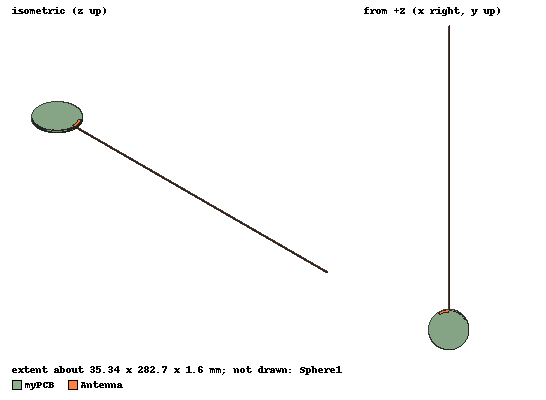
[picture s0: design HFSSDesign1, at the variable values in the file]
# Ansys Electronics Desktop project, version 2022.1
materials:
  vacuum: permittivity=1
  FR4_epoxy: permittivity=4.4 dielectric_loss_tangent=0.02
  copper: permeability=0.999991 conductivity=58000000

design HFSSDesign1 (HFSS, DrivenTerminal, model units mm)
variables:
  PCBHeight = 1.6mm
  RPCB = 17.5mm
  WAnt = 0.5mm
  thAnt = 59deg
  WGnd = 2mm
  thGND = 30.5deg
  InTraceWidth = -1mm
  InTraceLength = -Dgnd+marge+(WAnt/2)-(marge/2)
  InTraceHeigh = 0.36mm
  GNDTraceLength = -Dgnd+marge+(WGnd)-marge
  Dgnd = 5mm
  DgndVia = 0.125mm
  gndDepth = -0.36mm
  waveLength = 120mm
  xx = -2deg
  marge = 0.5m
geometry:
  myPCB [FR4_epoxy] = cylinder(axis=Z, base_centre=(0mm, 0mm, 0mm), radius=RPCB, height=-PCBHeight)
  Antenna = circle(normal=Z, centre=(0mm, 0mm, 0mm), radius=RPCB-0.5mm)
  Circle2 = circle(normal=Z, centre=(0mm, 0mm, 0mm), radius=RPCB-0.5mm-WAnt)
  Antenna.subtract(Circle2)
  Antenna.split(plane=YZ, keep=PositiveOnly)
  Antenna.rotate(axis=Z, angle=thAnt)
  Antenna.split(plane=YZ, keep=NegativeOnly)
  Antenna.rotate(axis=Z, angle=-thAnt)
  topGND = circle(normal=Z, centre=(0mm, 0mm, 0mm), radius=RPCB-0.5mm)
  Circle4 = circle(normal=Z, centre=(0mm, 0mm, 0mm), radius=RPCB-0.5mm-WGnd)
  topGND.subtract(Circle4)
  topGND.split(plane=YZ, keep=PositiveOnly)
  topGND.rotate(axis=Z, angle=thGND)
  topGND.split(plane=YZ, keep=NegativeOnly)
  Circle5 = circle(normal=Z, centre=(0mm, RPCB-marge-(WAnt/2), 0mm), radius=WAnt/2)
  Circle5.rotate(axis=Z, angle=-thAnt)
  InTrace = rectangle(corner=(-InTraceWidth/2, RPCB-0.5mm-WAnt/2, 0mm), x_size=InTraceWidth, y_size=InTraceLength)
  GNDTrace = rectangle(corner=(-WGnd/2, RPCB-marge-WGnd/2, 0mm), x_size=WGnd, y_size=GNDTraceLength)
  GNDTrace.rotate(axis=Z, angle=thGnd)
  Circle6 = circle(normal=Z, centre=(0mm, RPCB-marge- WGnd/2, 0mm), radius=WGnd/2)
  Circle6.rotate(axis=Z, angle=thGnd)
  Circle7 = circle(normal=Z, centre=(0mm, RPCB-marge - WGnd/2 + GNDTraceLength, 0mm), radius=WGnd/2)
  Circle7.rotate(axis=Z, angle=thGnd)
  Antenna.unite(Circle5, Circle6, Circle7, GNDTrace, InTrace, topGND)
  Rectangle1 = rectangle(corner=(0, RPCB-Dgnd, 0mm), x_size=-2*RPCB, y_size=-RPCB*2)
  Rectangle1.rotate(axis=Z, angle=thGnd)
  Rectangle2 = rectangle(corner=(0, RPCB-Dgnd, 0mm), x_size=2*RPCB, y_size=-RPCB*2)
  Rectangle2.rotate(axis=Z, angle=-thAnt)
  Circle8 = circle(normal=Z, centre=(0mm, 0mm, 0mm), radius=RPCB-Dgnd)
  Circle8.unite(Rectangle1, Rectangle2)
  Circle9 = circle(normal=Z, centre=(0mm, 0mm, 0mm), radius=RPCB-0.5mm)
  Circle9.intersect(Circle8)
  Circle9.move(0mm, 0mm, -0.36mm)
  Cylinder1 [copper] = cylinder(axis=Z, base_centre=(0mm, RPCB-marge - WGnd + GNDTraceLength+DgndVia, 0mm), radius=DgndVia, height=gndDepth)
  Cylinder1.rotate(axis=Z, angle=thGnd)
  Rectangle3 = rectangle(corner=(-InTraceWidth/2, RPCB-0.5mm-WAnt/2+InTraceLength, 0mm), z_size=gndDepth, x_size=InTraceWidth)
  Sphere1 [vacuum] = sphere(centre=(0mm, 0mm, 0mm), radius=2*waveLength)
  Circle10 = circle(normal=Z, centre=(0mm, 0mm, 0mm), radius=RPCB-0.5mm)
  Circle11 = circle(normal=Z, centre=(0mm, 0mm, 0mm), radius=RPCB-Dgnd)
  Rectangle4 = rectangle(corner=(0, RPCB-Dgnd, 0mm), x_size=-2*RPCB, y_size=-RPCB*2)
  Rectangle4.rotate(axis=Z, angle=thGnd)
  Rectangle5 = rectangle(corner=(0, RPCB-Dgnd, 0mm), x_size=2*RPCB, y_size=-RPCB*2)
  Rectangle5.rotate(axis=Z, angle=-thAnt)
  Circle11.unite(Rectangle4, Rectangle5)
  Circle10.intersect(Circle11)
  Circle10.move(0mm, 0mm, -0.36mm)
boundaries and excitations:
  Rad1: Radiation Objects=Sphere1
  FiniteCond1: Finite Conductivity Objects=[Circle9, Antenna] Conductivity=58000000 Permeability=1 IsInternal
  Antenna_T1: Terminal port=1 Edges=Antenna.edge(3 of 4) TerminalResistance=50ohm
  1: Lumped Port Faces=Rectangle3.face Impedance=50ohm
  reference conductors: Circle9
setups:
  Setup1: HfssDriven Frequency=2.45GHz MaxDeltaS=0.02 MaximumPasses=20 MinimumPasses=1 MinimumConvergedPasses=3 PercentRefinement=30 BasisOrder=1 PortAccuracy=2 DrivenSolverType="Direct Solver"
    sweep Sweep: 2GHz to 3.5GHz, 11 points; Type=Interpolating InterpTolerance=0.5 InterpMaxSolns=50 PassivityErrorTolerance=0.0001
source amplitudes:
  1:1: 1V 0deg
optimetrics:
  ParametricSetup1: Parametric Sim._Setups=[Setup1]
    sweep WAnt: LIN 0.5mm 1mm 0.25mm
    sweep WGnd: LIN 1.5mm 2mm 0.25mm
    sweep xx: LIN -5deg 5deg 1deg
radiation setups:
  Infinite Sphere1: Infinite Sphere Theta=0deg..180deg step 2deg Phi=-180deg..180deg step 2deg
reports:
  Terminal Z Parameter Plot 1: im(Zt(Antenna_T1,Antenna_T1)) vs Freq on Setup1 : Sweep [WAnt=1mm WGnd=2mm xx=2deg]; re(Zt(Antenna_T1,Antenna_T1)) vs Freq on Setup1 : Sweep [WAnt=1mm WGnd=1.5mm xx=2deg]; markers m1 at 2.454148GHz, m2 at 2.4544094GHz
  Terminal Z Parameter Plot 2: im(Zt(Antenna_T1,Antenna_T1)), re(Zt(Antenna_T1,Antenna_T1)) vs xx on Setup1 : Sweep [WAnt=all WGnd=all Freq=2.45GHz]; markers m1 at -2.446259deg, m2 at -2.4501822deg
  Terminal Z Parameter Plot 3: re(Zt(Antenna_T1,Antenna_T1)), im(Zt(Antenna_T1,Antenna_T1)) vs Freq on Setup1 : Sweep [WAnt=0.5mm WGnd=2mm xx=-2deg]; markers m1 at 2.45GHz, m2 at 2.45GHz
  Antenna Params Plot 1: RadiationEfficiency vs xx on Setup1 : LastAdaptive [WAnt=all WGnd=all Freq=2.45GHz]; markers m1 at 0deg
